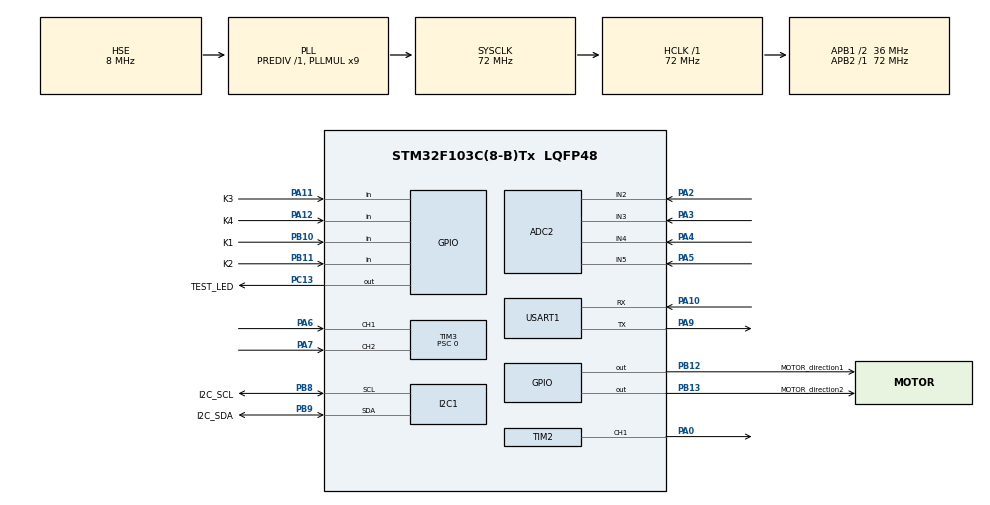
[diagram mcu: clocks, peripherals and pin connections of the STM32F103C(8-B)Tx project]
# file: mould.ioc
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ADC2.Channel-0\#ChannelRegularConversion=ADC_CHANNEL_2
ADC2.NbrOfConversion=1
ADC2.NbrOfConversionFlag=1
ADC2.Rank-0\#ChannelRegularConversion=1
ADC2.SamplingTime-0\#ChannelRegularConversion=ADC_SAMPLETIME_55CYCLES_5
Mcu.Family=STM32F1
Mcu.Name=STM32F103C(8-B)Tx
Mcu.Package=LQFP48
NVIC.PriorityGroup=NVIC_PRIORITYGROUP_4
NVIC.TIM1_UP_IRQn=true\:0\:0\:false\:false\:true\:true\:true\:true
PA0-WKUP.Signal=S_TIM2_CH1_ETR
PA10.Mode=Asynchronous
PA10.Signal=USART1_RX
PA11.GPIO_Label=K3
PA11.GPIO_PuPd=GPIO_PULLUP
PA11.Signal=GPIO_Input
PA12.GPIO_Label=K4
PA12.GPIO_PuPd=GPIO_PULLUP
PA12.Signal=GPIO_Input
PA13.Mode=Serial_Wire
PA13.Signal=SYS_JTMS-SWDIO
PA14.Mode=Serial_Wire
PA14.Signal=SYS_JTCK-SWCLK
PA2.Signal=ADCx_IN2
PA3.Signal=ADCx_IN3
PA4.Signal=ADCx_IN4
PA5.Signal=ADCx_IN5
PA6.Signal=S_TIM3_CH1
PA7.Signal=S_TIM3_CH2
PA9.Mode=Asynchronous
PA9.Signal=USART1_TX
PB10.GPIO_Label=K1
PB10.GPIO_PuPd=GPIO_PULLUP
PB10.Signal=GPIO_Input
PB11.GPIO_Label=K2
PB11.GPIO_PuPd=GPIO_PULLUP
PB11.Signal=GPIO_Input
PB12.GPIO_Label=MOTOR_direction1
PB12.GPIO_ModeDefaultOutputPP=GPIO_MODE_OUTPUT_PP
PB12.Signal=GPIO_Output
PB13.GPIO_Label=MOTOR_direction2
PB13.Signal=GPIO_Output
PB8.GPIO_Label=I2C_SCL
PB8.Mode=I2C
PB8.Signal=I2C1_SCL
PB9.GPIO_Label=I2C_SDA
PB9.Mode=I2C
PB9.Signal=I2C1_SDA
PC13-TAMPER-RTC.GPIO_Label=TEST_LED
PC13-TAMPER-RTC.GPIO_ModeDefaultOutputPP=GPIO_MODE_OUTPUT_PP
PC13-TAMPER-RTC.PinState=GPIO_PIN_SET
PC13-TAMPER-RTC.Signal=GPIO_Output
PD0-OSC_IN.Mode=HSE-External-Oscillator
PD0-OSC_IN.Signal=RCC_OSC_IN
PD1-OSC_OUT.Mode=HSE-External-Oscillator
PD1-OSC_OUT.Signal=RCC_OSC_OUT
ProjectManager.HeapSize=0x200
ProjectManager.StackSize=0x400
ProjectManager.TargetToolchain=MDK-ARM V5.32
RCC.ADCPresc=RCC_ADCPCLK2_DIV6
RCC.AHBFreq_Value=72000000
RCC.APB1CLKDivider=RCC_HCLK_DIV2
RCC.APB1Freq_Value=36000000
RCC.APB1TimFreq_Value=72000000
RCC.APB2Freq_Value=72000000
RCC.APB2TimFreq_Value=72000000
RCC.HCLKFreq_Value=72000000
RCC.PLLMUL=RCC_PLL_MUL9
RCC.PLLSourceVirtual=RCC_PLLSOURCE_HSE
RCC.SYSCLKFreq_VALUE=72000000
RCC.SYSCLKSource=RCC_SYSCLKSOURCE_PLLCLK
RCC.USBFreq_Value=72000000
SH.ADCx_IN2.0=ADC1_IN2
SH.ADCx_IN2.1=ADC2_IN2,IN2
SH.ADCx_IN3.0=ADC1_IN3
SH.ADCx_IN3.1=ADC2_IN3,IN3
SH.ADCx_IN4.0=ADC1_IN4
SH.ADCx_IN4.1=ADC2_IN4,IN4
SH.ADCx_IN5.0=ADC1_IN5
SH.ADCx_IN5.1=ADC2_IN5,IN5
SH.S_TIM2_CH1_ETR.0=TIM2_CH1,PWM Generation1 CH1
SH.S_TIM3_CH1.0=TIM3_CH1,Encoder_Interface
SH.S_TIM3_CH2.0=TIM3_CH2,Encoder_Interface
TIM1.Period=100-1
TIM1.Prescaler=720-1
TIM2.Channel-PWM\ Generation1\ CH1=TIM_CHANNEL_1
TIM2.Period=100-1
TIM2.Prescaler=720-1
TIM2.Pulse-PWM\ Generation1\ CH1=50
TIM3.AutoReloadPreload=TIM_AUTORELOAD_PRELOAD_ENABLE
TIM3.EncoderMode=TIM_ENCODERMODE_TI12
TIM3.Period=65535
TIM3.Prescaler=0
USART1.VirtualMode=VM_ASYNC
VP_TIM1_VS_ClockSourceINT.Mode=Internal
VP_TIM2_VS_ClockSourceINT.Mode=Internal
board=custom

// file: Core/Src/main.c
/* USER CODE BEGIN Header */
/**
  ******************************************************************************
  * @file           : main.c
  * @brief          : Main program body
  ******************************************************************************
  * @attention
  *
  * Copyright (c) 2025 STMicroelectronics.
  * All rights reserved.
  *
  * This software is licensed under terms that can be found in the LICENSE file
  * in the root directory of this software component.
  * If no LICENSE file comes with this software, it is provided AS-IS.
  *
  ******************************************************************************
  */

// light up the blue LED HAL_GPIO_WritePin(TEST_LED_GPIO_Port,TEST_LED_Pin,0);

/* USER CODE END Header */
#include "main.h"
#include "adc.h"
#include "i2c.h"
#include "tim.h"
#include "usart.h"
#include "gpio.h"

/* USER CODE BEGIN Includes */
#include "Key.h"
#include "OLED.h"
#include "RP.h"
#include "MOTOR.h"
#include "Serial.h"
/* USER CODE END Includes */

void SystemClock_Config(void);

/* USER CODE BEGIN 0 */
uint8_t KeyNum=0;
float Kp=0.8,Ki=0,Kd,Want=0,Real,Out,Err0,Err1,ErrInt=0;
/* USER CODE END 0 */

int main(void)
{

  /* MCU Configuration--------------------------------------------------------*/

  /* Reset of all peripherals, Initializes the Flash interface and the Systick. */
  HAL_Init();

  /* Configure the system clock */
  SystemClock_Config();

  /* Initialize all configured peripherals */
  MX_GPIO_Init();
  MX_I2C1_Init();
  MX_TIM1_Init();
  MX_ADC2_Init();
  MX_TIM2_Init();
  MX_TIM3_Init();
  MX_USART1_UART_Init();
  /* USER CODE BEGIN 2 */
  OLED_Init();
  HAL_TIM_Base_Start_IT(&htim1);
  HAL_TIM_PWM_Start(&htim2, TIM_CHANNEL_1);
  HAL_TIM_Encoder_Start(&htim3, TIM_CHANNEL_ALL);
  /* USER CODE END 2 */

  /* Infinite loop */
  /* USER CODE BEGIN WHILE */
  // OLED_Reverse();
  OLED_Clear();
  // OLED_ShowString(0,0,"KeyNum:");
  OLED_ShowString(0,0,"Kp:");
  OLED_ShowString(1,0,"Ki:");
  OLED_ShowString(2,0,"Kd:");
  // OLED_ShowString(3,0,"ErrInt:");
  OLED_ShowString(4,0,"Want:");
  OLED_ShowString(5,0,"Real:");
  OLED_ShowString(6,0,"Out:");
  //OLED_ShowString(7,0,"Location:");
  MOTOR_Start();
   MOTOR_PWMControl(-100);
  while (1)
  {
    		//按键检测
		// KeyNum=Key_Songshou();
	  //   if(KeyNum!=0)
	  //   {
		//   OLED_ShowChar(0,42,KeyNum+'0');
		//   switch(KeyNum)
		//   {
		// 	  case 1:Want+=10;break;
		// 	  case 2:Want-=10;break;
		// 	  case 3:Want=0;break;
		// 	  default :break;
		//   }
	  //   }
		//更新旋钮数据并显示新数据
		ADC_updata_Data_RP();
		OLED_ShowFloat(0,24,ADC_Data_RP[0]);
		Kp=ADC_Data_RP[0];
	  OLED_ShowFloat(1,24,ADC_Data_RP[1]);
		Ki=ADC_Data_RP[1];
	  OLED_ShowFloat(2,24,ADC_Data_RP[2]);
		Kd=ADC_Data_RP[2];
    Want=(ADC_Data_RP[3]-0.5)*180.0;
		//显示电机状态
		OLED_Sprintf(5,30,"%04.0f",Real);
		OLED_Sprintf(4,30,"%04.0f",Want);
    OLED_Sprintf(6,30,"%04.0f",Out);
//		OLED_Showint(6,54,MOTOR_ReadLocation());
		//串口发消息
		Serial_Sprintf("%04.2f,%04.2f\r\n",Want,Real);

    /* USER CODE END WHILE */

  }
}

void SystemClock_Config(void)
{
  RCC_OscInitTypeDef RCC_OscInitStruct = {0};
  RCC_ClkInitTypeDef RCC_ClkInitStruct = {0};
  RCC_PeriphCLKInitTypeDef PeriphClkInit = {0};

  /** Initializes the RCC Oscillators according to the specified parameters
  * in the RCC_OscInitTypeDef structure.
  */
  RCC_OscInitStruct.OscillatorType = RCC_OSCILLATORTYPE_HSE;
  RCC_OscInitStruct.HSEState = RCC_HSE_ON;
  RCC_OscInitStruct.HSEPredivValue = RCC_HSE_PREDIV_DIV1;
  RCC_OscInitStruct.HSIState = RCC_HSI_ON;
  RCC_OscInitStruct.PLL.PLLState = RCC_PLL_ON;
  RCC_OscInitStruct.PLL.PLLSource = RCC_PLLSOURCE_HSE;
  RCC_OscInitStruct.PLL.PLLMUL = RCC_PLL_MUL9;
  if (HAL_RCC_OscConfig(&RCC_OscInitStruct) != HAL_OK)
  {
    Error_Handler();
  }

  /** Initializes the CPU, AHB and APB buses clocks
  */
  RCC_ClkInitStruct.ClockType = RCC_CLOCKTYPE_HCLK|RCC_CLOCKTYPE_SYSCLK
                              |RCC_CLOCKTYPE_PCLK1|RCC_CLOCKTYPE_PCLK2;
  RCC_ClkInitStruct.SYSCLKSource = RCC_SYSCLKSOURCE_PLLCLK;
  RCC_ClkInitStruct.AHBCLKDivider = RCC_SYSCLK_DIV1;
  RCC_ClkInitStruct.APB1CLKDivider = RCC_HCLK_DIV2;
  RCC_ClkInitStruct.APB2CLKDivider = RCC_HCLK_DIV1;

  if (HAL_RCC_ClockConfig(&RCC_ClkInitStruct, FLASH_LATENCY_2) != HAL_OK)
  {
    Error_Handler();
  }
  PeriphClkInit.PeriphClockSelection = RCC_PERIPHCLK_ADC;
  PeriphClkInit.AdcClockSelection = RCC_ADCPCLK2_DIV6;
  if (HAL_RCCEx_PeriphCLKConfig(&PeriphClkInit) != HAL_OK)
  {
    Error_Handler();
  }
}

/* USER CODE BEGIN 4 */
void HAL_TIM_PeriodElapsedCallback(TIM_HandleTypeDef *htim)
{
  // 判断是哪个定时器触发了中断
  static uint16_t count=0;
  if (htim->Instance == TIM1)
  {
	  count++;
	  if(count==20)
	  {
		//PID
		//获取实际值
     Real=MOTOR_ReadSpeed();
		Err0=Err1;
		Err1=Want-Real;
    	if (Ki != 0)
			{
				ErrInt += Err0;
			}
			else
			{
				ErrInt = 0;
			}
		Out=Kp*Err1+Ki*ErrInt+Kd*(Err1-Err0);
		//输出限幅
		if(Out>=100)
		{
			Out=100;
		}
		if(Out<=-100)
		{
			Out=-100;
		}
		//把Out输出，进行调控
		MOTOR_PWMControl((int)Out);

		count=0;
	  }
  }
 }
/* USER CODE END 4 */

void Error_Handler(void)
{
  __disable_irq();
  while (1)
  {
  }
}
